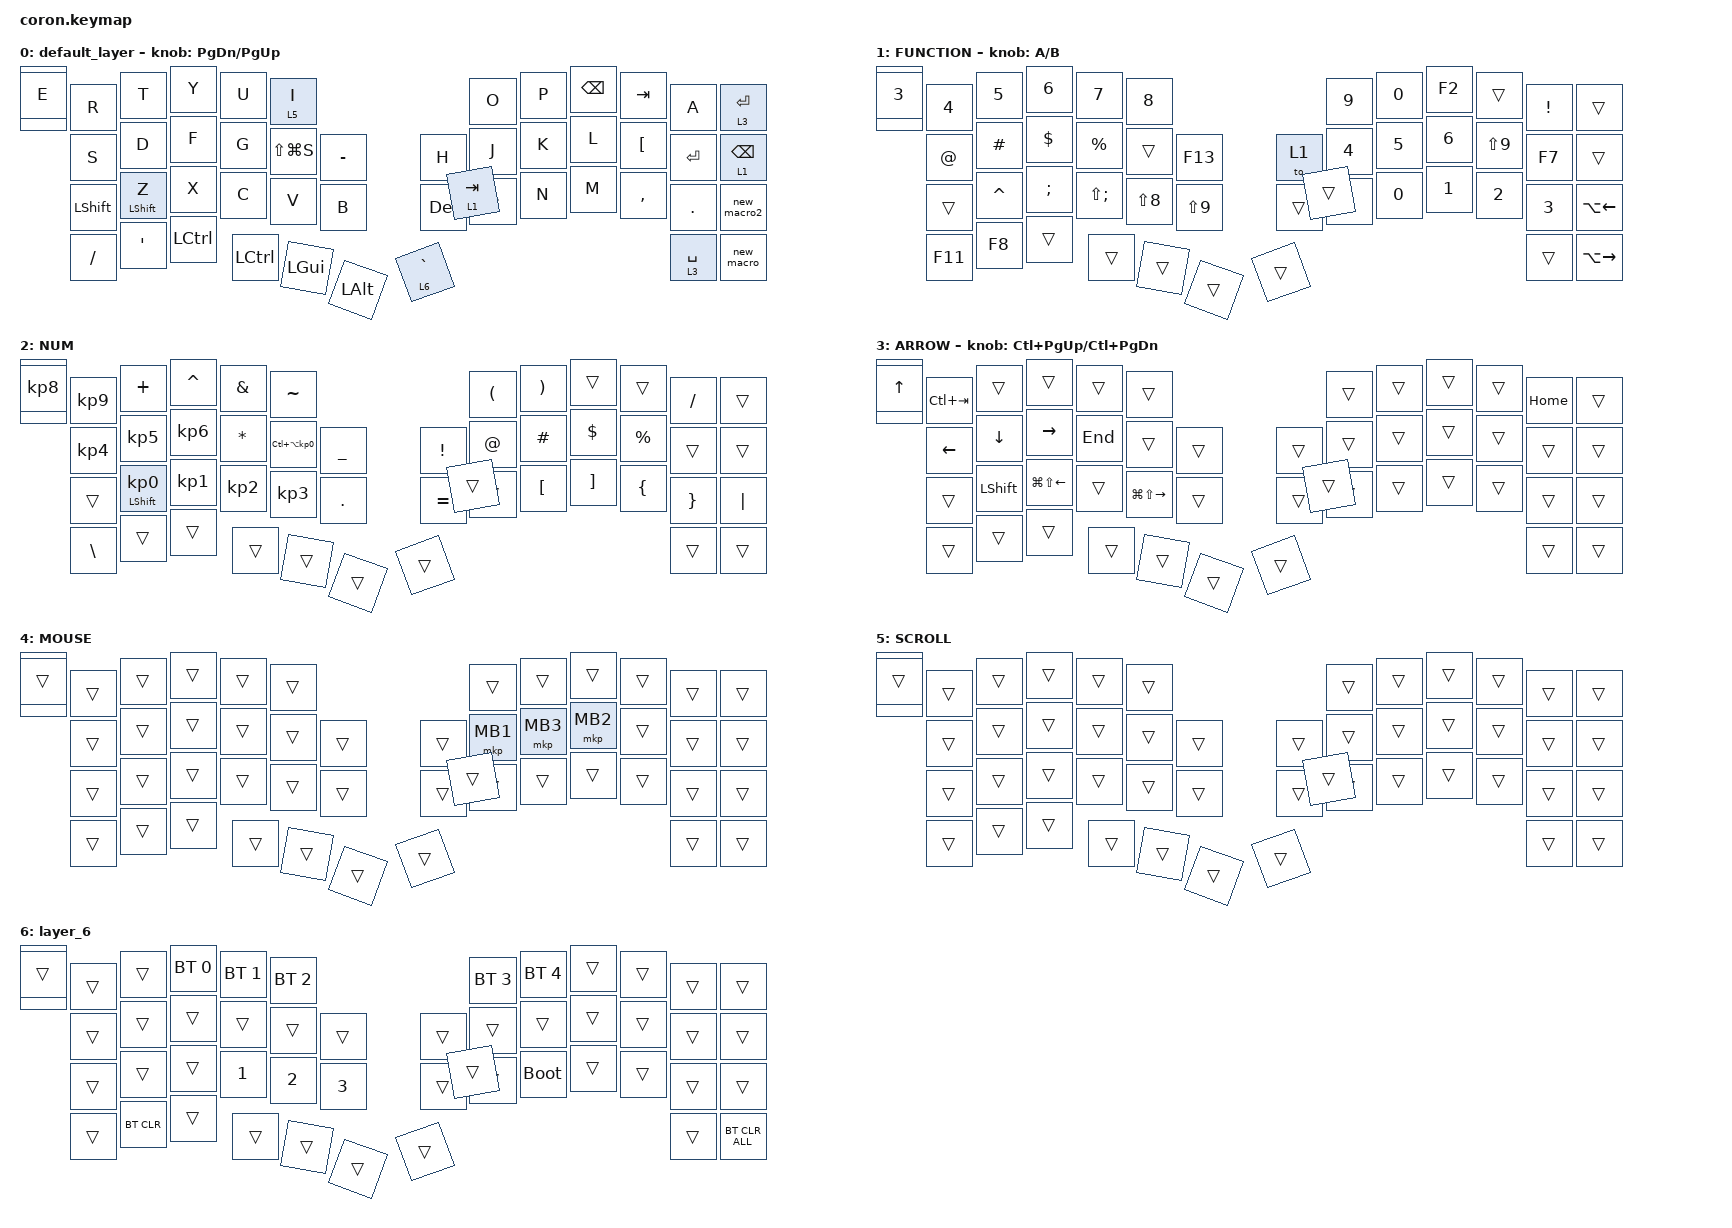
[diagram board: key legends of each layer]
/* coron.keymap */

#include <behaviors.dtsi>
#include <dt-bindings/zmk/bt.h>
#include <dt-bindings/zmk/keys.h>
#include <dt-bindings/zmk/pointing.h>

&mt {
    flavor = "balanced";
    quick-tap-ms = <0>;
};

&trackball {
    automouse-layer = <4>;
    scroll-layers = <5>;
};

/ {
    combos {
        compatible = "zmk,combos";

        /* Note: Key positions have shifted due to added columns. 
           You will need to recalculate these indices later. */

        tab {
            bindings = <&kp TAB>;
            key-positions = <11 12>;
        };

        shift_tab {
            bindings = <&kp LS(TAB)>;
            key-positions = <12 13>;
        };

        muhennkann {
            bindings = <&to_layer_0 INT_MUHENKAN>;
            key-positions = <11 10>;
        };

        double_quotation {
            bindings = <&kp DOUBLE_QUOTES>;
            key-positions = <20 21>;
        };

        eq {
            bindings = <&kp EQUAL>;
            key-positions = <24 25>;
        };
    };

    macros {
        to_layer_0: to_layer_0 {
            compatible = "zmk,behavior-macro-one-param";
            #binding-cells = <1>;
            bindings = <&macro_param_1to1 &kp MACRO_PLACEHOLDER>;
            label = "TO_LAYER_0";
        };

        new_macro: new_macro {
            compatible = "zmk,behavior-macro";
            #binding-cells = <0>;
            bindings =
                <&macro_tap>,
                <&kp N3 &kp LS(U) &kp H &kp LS(U) &kp V &kp LS(S) &kp N9 &kp S>;

            label = "NEW_MACRO";
        };

        new_macro2: new_macro2 {
            compatible = "zmk,behavior-macro";
            #binding-cells = <0>;
            bindings = <&macro_tap>, <&kp M &kp N4 &kp N1 &kp N3 &kp N8 &kp K>;

            label = "NEW_MACRO2";
        };
    };

    behaviors {
        lt_to_layer_0: lt_to_layer_0 {
            compatible = "zmk,behavior-hold-tap";
            label = "LAYER_TAP_TO_0";
            bindings = <&mo>, <&to_layer_0>;

            #binding-cells = <2>;
            tapping-term-ms = <200>;
        };
    };

    keymap {
        compatible = "zmk,keymap";

        default_layer {
            bindings = <
&kp TAB           &kp Q             &kp W         &kp E         &kp R                   &kp T      &kp Y                   &kp U        &lt 5 I     &kp O        &kp P       &kp BACKSPACE
&kp TAB           &kp A             &kp S         &kp D         &kp F                   &kp G      &kp LS(LG(S))           &kp MINUS    &kp H       &kp J        &kp K       &kp L          &kp LEFT_BRACKET  &kp ENTER
&kp LEFT_SHIFT    &mt LEFT_SHIFT Z  &kp X         &kp C         &kp V                   &kp B      &kp DEL                 &kp PLUS     &kp N       &kp M        &kp COMMA   &kp DOT        &kp SLASH         &kp APOS
&kp LEFT_CONTROL  &kp LEFT_CONTROL  &kp LEFT_GUI  &kp LEFT_ALT  &lt_to_layer_0 6 GRAVE  &lt 1 TAB  &lt_to_layer_0 3 SPACE  &lt 3 ENTER  &lt 1 BSPC  &new_macro2  &new_macro
            >;

            sensor-bindings = <&inc_dec_kp PAGE_DOWN PAGE_UP>;
        };

        FUNCTION {
            bindings = <
&kp ESCAPE  &kp NUMBER_1     &kp NUMBER_2   &kp NUMBER_3       &kp NUMBER_4  &kp N5       &kp NUMBER_6  &kp N7   &kp N8  &kp N9        &kp N0         &kp F2
&trans      &kp EXCLAMATION  &kp AT_SIGN    &kp HASH           &kp DOLLAR    &kp PERCENT  &trans        &kp F13  &to 1   &kp NUMBER_4  &kp N5         &kp NUMBER_6  &kp LS(N9)  &kp F7
&trans      &kp CARET        &kp SEMICOLON  &kp LS(SEMICOLON)  &kp LS(N8)    &kp LS(N9)   &trans        &kp N0   &kp N0  &kp NUMBER_1  &kp NUMBER_2   &kp NUMBER_3  &kp F11     &kp F8
&trans      &trans           &trans         &trans             &trans        &trans       &trans        &trans   &trans  &kp LA(LEFT)  &kp LA(RIGHT)
            >;

            sensor-bindings = <&inc_dec_kp A B>;
        };

        NUM {
            bindings = <
&trans  &kp MINUS                   &kp KP_NUMBER_7  &kp KP_NUMBER_8  &kp KP_NUMBER_9  &kp PLUS      &kp CARET                &kp AMPERSAND   &kp TILDE         &kp LEFT_PARENTHESIS  &kp RIGHT_PARENTHESIS  &trans
&trans  &kp SLASH                   &kp KP_NUMBER_4  &kp KP_NUMBER_5  &kp KP_NUMBER_6  &kp ASTERISK  &kp LC(LA(KP_NUMBER_0))  &kp UNDERSCORE  &kp EXCLAMATION   &kp AT_SIGN           &kp HASH               &kp DOLLAR       &kp PERCENT    &trans
&trans  &mt LEFT_SHIFT KP_NUMBER_0  &kp KP_NUMBER_1  &kp KP_NUMBER_2  &kp KP_NUMBER_3  &kp PERIOD    &kp EQUAL                &trans          &kp LEFT_BRACKET  &kp RIGHT_BRACKET     &kp LEFT_BRACE         &kp RIGHT_BRACE  &kp BACKSLASH  &trans
&trans  &trans                      &trans           &trans           &trans           &trans        &trans                   &trans          &trans            &kp PIPE              &trans
            >;
        };

        ARROW {
            bindings = <
&trans  &kp ESCAPE      &kp LC(LS(TAB))         &kp UP_ARROW    &kp LC(TAB)              &trans   &trans  &trans  &trans  &trans  &trans  &trans
&trans  &kp HOME        &kp LEFT_ARROW          &kp DOWN_ARROW  &kp RIGHT_ARROW          &kp END  &trans  &trans  &trans  &trans  &trans  &trans  &trans  &trans
&trans  &kp LEFT_SHIFT  &kp LG(LS(LEFT_ARROW))  &trans          &kp LG(LS(RIGHT_ARROW))  &trans   &trans  &trans  &trans  &trans  &trans  &trans  &trans  &trans
&trans  &trans          &trans                  &trans          &trans                   &trans   &trans  &trans  &trans  &trans  &trans
            >;

            sensor-bindings = <&inc_dec_kp LC(PAGE_UP) LC(PAGE_DOWN)>;
        };

        MOUSE {
            bindings = <
&trans  &trans  &trans  &trans  &trans  &trans  &trans  &trans  &trans  &trans    &trans    &trans
&trans  &trans  &trans  &trans  &trans  &trans  &trans  &trans  &trans  &mkp MB1  &mkp MB3  &mkp MB2  &trans  &trans
&trans  &trans  &trans  &trans  &trans  &trans  &trans  &trans  &trans  &trans    &trans    &trans    &trans  &trans
&trans  &trans  &trans  &trans  &trans  &trans  &trans  &trans  &trans  &trans    &trans
            >;
        };

        SCROLL {
            bindings = <
&trans  &trans  &trans  &trans  &trans  &trans  &trans  &trans  &trans  &trans  &trans  &trans
&trans  &trans  &trans  &trans  &trans  &trans  &trans  &trans  &trans  &trans  &trans  &trans  &trans  &trans
&trans  &trans  &trans  &trans  &trans  &trans  &trans  &trans  &trans  &trans  &trans  &trans  &trans  &trans
&trans  &trans  &trans  &trans  &trans  &trans  &trans  &trans  &trans  &trans  &trans
            >;
        };

        layer_6 {
            bindings = <
&trans  &trans  &trans  &trans        &trans        &trans        &bt BT_SEL 0  &bt BT_SEL 1  &bt BT_SEL 2  &bt BT_SEL 3  &bt BT_SEL 4    &trans
&trans  &trans  &trans  &trans        &trans        &trans        &trans        &trans        &trans        &trans        &trans          &trans  &trans  &trans
&trans  &trans  &trans  &kp NUMBER_1  &kp NUMBER_2  &kp NUMBER_3  &trans        &trans        &bootloader   &trans        &trans          &trans  &trans  &bt BT_CLR
&trans  &trans  &trans  &trans        &trans        &trans        &trans        &trans        &trans        &trans        &bt BT_CLR_ALL
            >;
        };
    };
};
